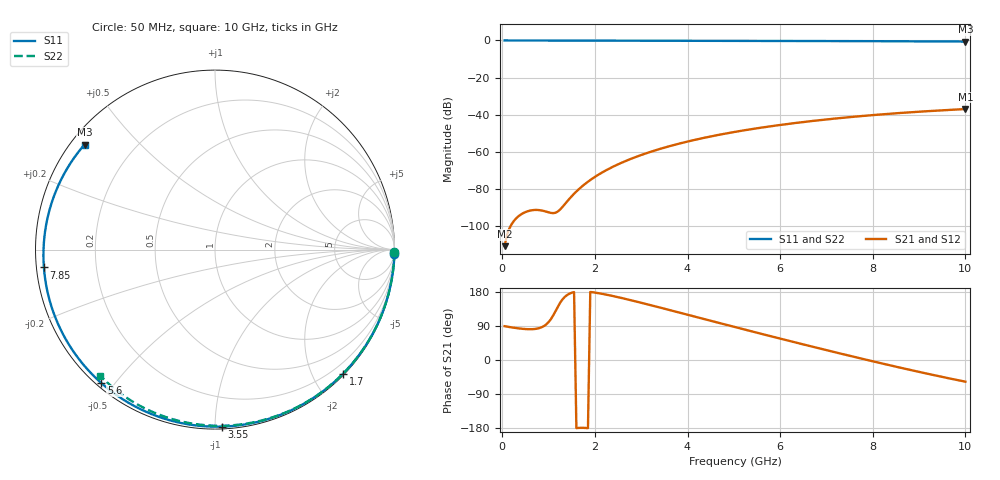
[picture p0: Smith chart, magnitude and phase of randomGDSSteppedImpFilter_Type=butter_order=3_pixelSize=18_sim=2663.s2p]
! freq	dB(S11)	phase(S11)	dB(S12)	phase(S12)
!  dB(S21)	phase(S21)	dB(S22)	phase(S22)
!S-par simulation data
#  GHz  S  DB  R 50
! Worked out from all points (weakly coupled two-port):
!   200 points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, 50 MHz to 10 GHz, reference 50 ohm
!   highest |S21| = -37.02 dB at 10 GHz (marker M1); lowest = -111.0 dB at 50 MHz (marker M2)
!   lowest |S11| = -0.6 dB at 10 GHz (marker M3), VSWR 29.05, Z = 1.94 + j17.6 ohm
!   |S11| at or under -10 dB: nowhere
!   |S22| runs from -0.4 to 0.0 dB; largest |S21 - S12| = 0
!   S11 on the Smith chart (normalised r, x): 50 MHz: 0, -86; 1.7 GHz: 0.02, -2.47; 3.55 GHz: 0.01, -1.04; 5.6 GHz: 0.01, -0.46; 7.85 GHz: 0.02, -0.05; 10 GHz: 0.04, +0.35
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0.05  -0.00 -1.3  -110.99 89.2  -110.99 89.2  -0.00 -0.8
0.45  -0.02 -11.9  -93.18 82.1  -93.18 82.1  -0.01 -6.9
0.85  -0.03 -22.4  -91.75 86.5  -91.75 86.5  -0.02 -12.9
1.25  -0.04 -32.7  -91.18 151.3  -91.18 151.3  -0.02 -18.9
1.65  -0.05 -42.8  -80.30 -179.1  -80.30 -179.1  -0.03 -24.9
1.7  -0.06 -44.1  -79.19 -178.9  -79.19 -178.9  -0.03 -25.6
1.75  -0.06 -45.3  -78.15 -179.0  -78.15 -179.0  -0.03 -26.4
2.05  -0.07 -52.8  -72.82 176.9  -72.82 176.9  -0.04 -30.8
2.45  -0.08 -62.4  -67.41 167.2  -67.41 167.2  -0.05 -36.7
2.9  -0.09 -73.0  -62.71 154.1  -62.71 154.1  -0.06 -43.1
3.4  -0.11 -84.4  -58.55 138.6  -58.55 138.6  -0.07 -50.2
3.55  -0.11 -87.8  -57.46 133.8  -57.46 133.8  -0.07 -52.3
4.25  -0.14 -102.9  -53.11 111.5  -53.11 111.5  -0.09 -62.0
5.05  -0.17 -119.4  -49.21 86.1  -49.21 86.1  -0.11 -72.7
5.6  -0.20 -130.4  -47.01 68.9  -47.01 68.9  -0.13 -79.8
6.15  -0.24 -141.2  -45.10 51.8  -45.10 51.8  -0.15 -86.8
6.7  -0.28 -151.8  -43.43 35.0  -43.43 35.0  -0.18 -93.7
7.3  -0.32 -163.4  -41.85 17.1  -41.85 17.1  -0.21 -101.0
7.85  -0.37 -174.0  -40.59 0.9  -40.59 0.9  -0.25 -107.5
8.35  -0.42 176.1  -39.58 -13.4  -39.58 -13.4  -0.29 -113.4
9.2  -0.50 158.7  -38.13 -36.8  -38.13 -36.8  -0.36 -123.2
10  -0.60 141.1  -37.02 -57.2  -37.02 -57.2  -0.45 -132.3
